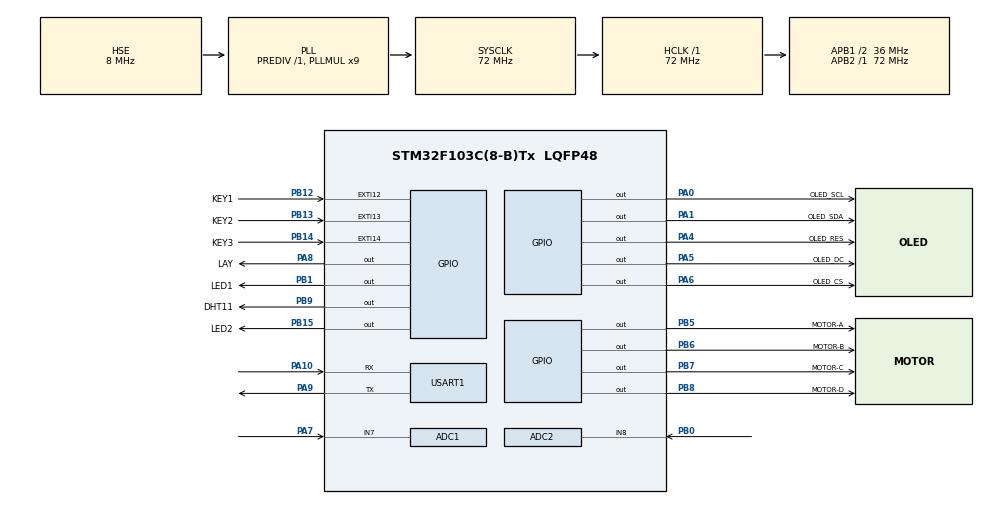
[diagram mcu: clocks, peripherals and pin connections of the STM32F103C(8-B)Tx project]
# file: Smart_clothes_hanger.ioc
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ADC1.Channel-2\#ChannelRegularConversion=ADC_CHANNEL_7
ADC1.NbrOfConversionFlag=1
ADC1.Rank-2\#ChannelRegularConversion=1
ADC1.SamplingTime-2\#ChannelRegularConversion=ADC_SAMPLETIME_1CYCLE_5
ADC1.master=1
ADC2.Channel-7\#ChannelRegularConversion=ADC_CHANNEL_8
ADC2.NbrOfConversionFlag=1
ADC2.Rank-7\#ChannelRegularConversion=1
ADC2.SamplingTime-7\#ChannelRegularConversion=ADC_SAMPLETIME_1CYCLE_5
Dma.Request0=USART1_RX
Dma.USART1_RX.0.Direction=DMA_PERIPH_TO_MEMORY
Dma.USART1_RX.0.Instance=DMA1_Channel5
Dma.USART1_RX.0.MemDataAlignment=DMA_MDATAALIGN_BYTE
Dma.USART1_RX.0.MemInc=DMA_MINC_ENABLE
Dma.USART1_RX.0.Mode=DMA_NORMAL
Dma.USART1_RX.0.PeriphDataAlignment=DMA_PDATAALIGN_BYTE
Dma.USART1_RX.0.PeriphInc=DMA_PINC_DISABLE
Dma.USART1_RX.0.Priority=DMA_PRIORITY_LOW
Mcu.Family=STM32F1
Mcu.Name=STM32F103C(8-B)Tx
Mcu.Package=LQFP48
NVIC.DMA1_Channel5_IRQn=true\:0\:0\:false\:false\:true\:false\:true\:true
NVIC.EXTI15_10_IRQn=true\:0\:0\:false\:false\:true\:true\:true\:true
NVIC.PriorityGroup=NVIC_PRIORITYGROUP_4
NVIC.USART1_IRQn=true\:0\:0\:false\:false\:true\:true\:true\:true
PA0-WKUP.GPIO_Label=OLED_SCL
PA0-WKUP.GPIO_ModeDefaultOutputPP=GPIO_MODE_OUTPUT_PP
PA0-WKUP.GPIO_PuPd=GPIO_PULLUP
PA0-WKUP.GPIO_Speed=GPIO_SPEED_FREQ_HIGH
PA0-WKUP.PinState=GPIO_PIN_SET
PA0-WKUP.Signal=GPIO_Output
PA1.GPIO_Label=OLED_SDA
PA1.GPIO_ModeDefaultOutputPP=GPIO_MODE_OUTPUT_PP
PA1.GPIO_PuPd=GPIO_PULLUP
PA1.GPIO_Speed=GPIO_SPEED_FREQ_HIGH
PA1.PinState=GPIO_PIN_SET
PA1.Signal=GPIO_Output
PA10.Mode=Asynchronous
PA10.Signal=USART1_RX
PA13.Mode=Serial_Wire
PA13.Signal=SYS_JTMS-SWDIO
PA14.Mode=Serial_Wire
PA14.Signal=SYS_JTCK-SWCLK
PA4.GPIO_Label=OLED_RES
PA4.GPIO_ModeDefaultOutputPP=GPIO_MODE_OUTPUT_PP
PA4.GPIO_PuPd=GPIO_PULLUP
PA4.GPIO_Speed=GPIO_SPEED_FREQ_HIGH
PA4.PinState=GPIO_PIN_SET
PA4.Signal=GPIO_Output
PA5.GPIO_Label=OLED_DC
PA5.GPIO_ModeDefaultOutputPP=GPIO_MODE_OUTPUT_PP
PA5.GPIO_PuPd=GPIO_PULLUP
PA5.GPIO_Speed=GPIO_SPEED_FREQ_HIGH
PA5.PinState=GPIO_PIN_SET
PA5.Signal=GPIO_Output
PA6.GPIO_Label=OLED_CS
PA6.GPIO_ModeDefaultOutputPP=GPIO_MODE_OUTPUT_PP
PA6.GPIO_PuPd=GPIO_PULLUP
PA6.GPIO_Speed=GPIO_SPEED_FREQ_HIGH
PA6.PinState=GPIO_PIN_SET
PA6.Signal=GPIO_Output
PA7.Signal=ADCx_IN7
PA8.GPIO_Label=LAY
PA8.GPIO_ModeDefaultOutputPP=GPIO_MODE_OUTPUT_PP
PA8.GPIO_PuPd=GPIO_PULLUP
PA8.GPIO_Speed=GPIO_SPEED_FREQ_HIGH
PA8.PinState=GPIO_PIN_SET
PA8.Signal=GPIO_Output
PA9.Mode=Asynchronous
PA9.Signal=USART1_TX
PB0.Signal=ADCx_IN8
PB1.GPIO_Label=LED1
PB1.GPIO_ModeDefaultOutputPP=GPIO_MODE_OUTPUT_PP
PB1.GPIO_PuPd=GPIO_PULLUP
PB1.GPIO_Speed=GPIO_SPEED_FREQ_HIGH
PB1.PinState=GPIO_PIN_SET
PB1.Signal=GPIO_Output
PB12.GPIO_Label=KEY1
PB12.GPIO_ModeDefaultEXTI=GPIO_MODE_IT_FALLING
PB12.GPIO_PuPd=GPIO_PULLUP
PB12.Signal=GPXTI12
PB13.GPIO_Label=KEY2
PB13.GPIO_ModeDefaultEXTI=GPIO_MODE_IT_FALLING
PB13.GPIO_PuPd=GPIO_PULLUP
PB13.Signal=GPXTI13
PB14.GPIO_Label=KEY3
PB14.GPIO_ModeDefaultEXTI=GPIO_MODE_IT_FALLING
PB14.GPIO_PuPd=GPIO_PULLUP
PB14.Signal=GPXTI14
PB15.GPIO_Label=LED2
PB15.GPIO_ModeDefaultOutputPP=GPIO_MODE_OUTPUT_PP
PB15.GPIO_PuPd=GPIO_PULLUP
PB15.GPIO_Speed=GPIO_SPEED_FREQ_HIGH
PB15.PinState=GPIO_PIN_SET
PB15.Signal=GPIO_Output
PB5.GPIO_Label=MOTOR-A
PB5.GPIO_PuPd=GPIO_PULLUP
PB5.GPIO_Speed=GPIO_SPEED_FREQ_HIGH
PB5.PinState=GPIO_PIN_SET
PB5.Signal=GPIO_Output
PB6.GPIO_Label=MOTOR-B
PB6.GPIO_ModeDefaultOutputPP=GPIO_MODE_OUTPUT_PP
PB6.GPIO_PuPd=GPIO_PULLUP
PB6.GPIO_Speed=GPIO_SPEED_FREQ_HIGH
PB6.PinState=GPIO_PIN_SET
PB6.Signal=GPIO_Output
PB7.GPIO_Label=MOTOR-C
PB7.GPIO_PuPd=GPIO_PULLUP
PB7.GPIO_Speed=GPIO_SPEED_FREQ_HIGH
PB7.PinState=GPIO_PIN_SET
PB7.Signal=GPIO_Output
PB8.GPIO_Label=MOTOR-D
PB8.GPIO_PuPd=GPIO_PULLUP
PB8.GPIO_Speed=GPIO_SPEED_FREQ_HIGH
PB8.PinState=GPIO_PIN_SET
PB8.Signal=GPIO_Output
PB9.GPIO_Label=DHT11
PB9.GPIO_ModeDefaultOutputPP=GPIO_MODE_OUTPUT_PP
PB9.GPIO_PuPd=GPIO_PULLUP
PB9.GPIO_Speed=GPIO_SPEED_FREQ_HIGH
PB9.PinState=GPIO_PIN_SET
PB9.Signal=GPIO_Output
PD0-OSC_IN.Mode=HSE-External-Oscillator
PD0-OSC_IN.Signal=RCC_OSC_IN
PD1-OSC_OUT.Mode=HSE-External-Oscillator
PD1-OSC_OUT.Signal=RCC_OSC_OUT
ProjectManager.HeapSize=0x200
ProjectManager.StackSize=0x400
ProjectManager.TargetToolchain=MDK-ARM V5.32
RCC.ADCPresc=RCC_ADCPCLK2_DIV6
RCC.AHBFreq_Value=72000000
RCC.APB1CLKDivider=RCC_HCLK_DIV2
RCC.APB1Freq_Value=36000000
RCC.APB1TimFreq_Value=72000000
RCC.APB2Freq_Value=72000000
RCC.APB2TimFreq_Value=72000000
RCC.HCLKFreq_Value=72000000
RCC.PLLMUL=RCC_PLL_MUL9
RCC.PLLSourceVirtual=RCC_PLLSOURCE_HSE
RCC.SYSCLKFreq_VALUE=72000000
RCC.SYSCLKSource=RCC_SYSCLKSOURCE_PLLCLK
RCC.USBFreq_Value=72000000
SH.ADCx_IN7.0=ADC1_IN7,IN7
SH.ADCx_IN8.0=ADC2_IN8,IN8
USART1.VirtualMode=VM_ASYNC
board=custom

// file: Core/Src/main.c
/* USER CODE BEGIN Header */
/**
  ******************************************************************************
  * @file           : main.c
  * @brief          : Main program body
  ******************************************************************************
  * @attention
  *
  * Copyright (c) 2025 STMicroelectronics.
  * All rights reserved.
  *
  * This software is licensed under terms that can be found in the LICENSE file
  * in the root directory of this software component.
  * If no LICENSE file comes with this software, it is provided AS-IS.
  *
  ******************************************************************************
  */
/* USER CODE END Header */
#include "main.h"
#include "adc.h"
#include "dma.h"
#include "usart.h"
#include "gpio.h"

/* USER CODE BEGIN Includes */
#include "oled.h"
#include "string.h"
#include "stdio.h"
#include "motor.h"
#include "DHT11.h"
#include "esp8266.h"

uint8_t data_t=30,data_r=3,data_h=50;
float data_l = 0.3;
/* USER CODE END Includes */

/* USER CODE BEGIN PTD */
static void ui_setting(void);
/* USER CODE END PTD */

void SystemClock_Config(void);

int main(void)
{

  /* USER CODE BEGIN 1 */
	static int i_count = 0;
  float adcy,adcy1;
	uint16_t adcx = 0,adcx1 = 0;
	char data_light[20]={0},data_light1[20]={0};
	char show_data[30];
  /* USER CODE END 1 */

  /* MCU Configuration--------------------------------------------------------*/

  /* Reset of all peripherals, Initializes the Flash interface and the Systick. */
  HAL_Init();

  /* Configure the system clock */
  SystemClock_Config();

  /* Initialize all configured peripherals */
  MX_GPIO_Init();
  MX_DMA_Init();
  MX_ADC1_Init();
  MX_ADC2_Init();
  MX_USART1_UART_Init();
  /* USER CODE BEGIN 2 */
	OLED_Init();
	OLED_ColorTurn(0);
  OLED_DisplayTurn(0);
	OLED_Clear();
	start_esp8266();
  /* USER CODE END 2 */

  /* Infinite loop */
  while (1)
  {

    /* USER CODE BEGIN 3 */
		handle_esp8266();
		HAL_ADC_Start(&hadc1);
		HAL_ADC_PollForConversion(&hadc1,10);
		adcx = (uint16_t)HAL_ADC_GetValue(&hadc1);
		adcy = (float)adcx*3.3/4096;
		sprintf(data_light,"Light:%.3f",adcy);
		OLED_ShowString(0,0,(uint8_t*)data_light,16,1);
			OLED_Refresh();

				HAL_ADC_Start(&hadc2);
		HAL_ADC_PollForConversion(&hadc2,10);
		adcx1 = (uint16_t)HAL_ADC_GetValue(&hadc2);
		adcy1 = (float)adcx1*3.3/4096;              //guangzhao
		sprintf(data_light1,"Rain:%.3f",adcy1);
		OLED_ShowString(0,20,(uint8_t*)data_light1,16,1);
		OLED_Refresh();

		i_count++;
		if(i_count/50)
		{
			i_count=0;
			sprintf(show_data,"light:%.3f Rain:%.3f\r\n",adcy,adcy1);
			send_wifi(show_data,27);
		}

		DHT11();

		if(adcy<data_l)  //光照太强
		{
				direction = 0; //Turn to loosen the soil in a positive direction
				for(int i=0;i<(motor_angle_cal(90))/8;i++)
				{
					for(uint8_t step=0;step<8;step++)
					{
							motor_controld(step,direction);
							HAL_Delay(1);
					}
				}
		}

		if(adcy1<data_r)
		{
								direction = 1; //Turn to loosen the soil in a positive direction
				for(int i=0;i<(motor_angle_cal(90))/8;i++)
				{
					for(uint8_t step=0;step<8;step++)
					{
							motor_controld(step,direction);
							HAL_Delay(1);
					}
				}
		}

		if(botton==MIDLE)
		{
			  botton = UNPRESS;
			  OLED_Clear();
				ui_setting();
		}

		if(botton==LEFT)
		{
			  botton = UNPRESS;
				HAL_GPIO_TogglePin(GPIOB, LED1_Pin);
		}

		if(botton==RIGHT)
		{
			  botton = UNPRESS;
				HAL_GPIO_TogglePin(GPIOB, LED2_Pin);
		}
//						direction = 0; //Turn to loosen the soil in a positive direction
//				for(int i=0;i<(motor_angle_cal(90))/8;i++)
//				{
//					for(uint8_t step=0;step<8;step++)
//					{
//							motor_controld(step,direction);
//							HAL_Delay(1);
//					}
//				}
  }
  /* USER CODE END 3 */
}

void SystemClock_Config(void)
{
  RCC_OscInitTypeDef RCC_OscInitStruct = {0};
  RCC_ClkInitTypeDef RCC_ClkInitStruct = {0};
  RCC_PeriphCLKInitTypeDef PeriphClkInit = {0};

  /** Initializes the RCC Oscillators according to the specified parameters
  * in the RCC_OscInitTypeDef structure.
  */
  RCC_OscInitStruct.OscillatorType = RCC_OSCILLATORTYPE_HSE;
  RCC_OscInitStruct.HSEState = RCC_HSE_ON;
  RCC_OscInitStruct.HSEPredivValue = RCC_HSE_PREDIV_DIV1;
  RCC_OscInitStruct.HSIState = RCC_HSI_ON;
  RCC_OscInitStruct.PLL.PLLState = RCC_PLL_ON;
  RCC_OscInitStruct.PLL.PLLSource = RCC_PLLSOURCE_HSE;
  RCC_OscInitStruct.PLL.PLLMUL = RCC_PLL_MUL9;
  if (HAL_RCC_OscConfig(&RCC_OscInitStruct) != HAL_OK)
  {
    Error_Handler();
  }

  /** Initializes the CPU, AHB and APB buses clocks
  */
  RCC_ClkInitStruct.ClockType = RCC_CLOCKTYPE_HCLK|RCC_CLOCKTYPE_SYSCLK
                              |RCC_CLOCKTYPE_PCLK1|RCC_CLOCKTYPE_PCLK2;
  RCC_ClkInitStruct.SYSCLKSource = RCC_SYSCLKSOURCE_PLLCLK;
  RCC_ClkInitStruct.AHBCLKDivider = RCC_SYSCLK_DIV1;
  RCC_ClkInitStruct.APB1CLKDivider = RCC_HCLK_DIV2;
  RCC_ClkInitStruct.APB2CLKDivider = RCC_HCLK_DIV1;

  if (HAL_RCC_ClockConfig(&RCC_ClkInitStruct, FLASH_LATENCY_2) != HAL_OK)
  {
    Error_Handler();
  }
  PeriphClkInit.PeriphClockSelection = RCC_PERIPHCLK_ADC;
  PeriphClkInit.AdcClockSelection = RCC_ADCPCLK2_DIV6;
  if (HAL_RCCEx_PeriphCLKConfig(&PeriphClkInit) != HAL_OK)
  {
    Error_Handler();
  }
}

/* USER CODE BEGIN 4 */
static void ui_setting(void)
{
	  char show_data[10],show_data1[10],show_data2[10],show_data3[10];
	  int position = 0;
		OLED_ShowString(30,0,(uint8_t*)"Setting",8,1);
		OLED_Refresh();
	  while(1)
		{
				sprintf(show_data,"Light:%0.2f",data_l);
				OLED_ShowString(0,10,(uint8_t*)show_data,8,position==0?0:1);  //关照

			  sprintf(show_data1,"humidity:%02d",data_h);
			  OLED_ShowString(0,20,(uint8_t*)show_data1,8,position==1?0:1); //湿度

			  sprintf(show_data2,"humidity:%02d",data_t);
				OLED_ShowString(0,30,(uint8_t*)show_data2,8,position==2?0:1);//温度

			  sprintf(show_data3,"Rain:%02d",data_r);
				OLED_ShowString(0,40,(uint8_t*)show_data3,8,position==3?0:1);    //下雨
				OLED_ShowString(0,50,(uint8_t*)"Back",8,position==4?0:1);
				OLED_Refresh();

			 if(botton==MIDLE)
			 {
					 botton = UNPRESS;
				   position++;
				   if(position>4)
						 position=0;
			 }

			 if(botton==LEFT)
			 {
				   botton = UNPRESS;
					 switch(position)
					 {
						 case 0:  //光照
								data_l-=0.1;
						    if(data_l<0)
									 data_l=4;
							 break;
						case 1:  //湿度
								data_h-=1;
						    if(data_h<0)
									 data_h=60;
							 break;

							case 2:  //温度
								data_t-=1;
						    if(data_t<0)
									 data_t=40;
							 break;
						 case 3:  //RAIN
								data_r-=1;
						    if(data_r<0)
									 data_r=4;
							 break;

					 }
			 }

			 if(botton==RIGHT)
			 {
				   botton = UNPRESS;
					 switch(position)
					 {
						 case 0:  //光照
								data_l+=0.1;
						    if(data_l>4)
									 data_l=0;
							 break;
							case 1:  //
								data_h+=1;
						    if(data_h>60)
									 data_h=0;
							 break;
						  case 2:  //温度
								data_t+=1;
						    if(data_t>40)
									 data_t=0;
							 break;
							case 3:  //湿度
								data_r+=1;
						    if(data_r>4)
									 data_r=0;
							 break;

							case 4:  //
								  OLED_Clear();
									return;
							 break;
					 }
			 }

		}

}

/* USER CODE END 4 */

void Error_Handler(void)
{
  __disable_irq();
  while (1)
  {
  }
}
